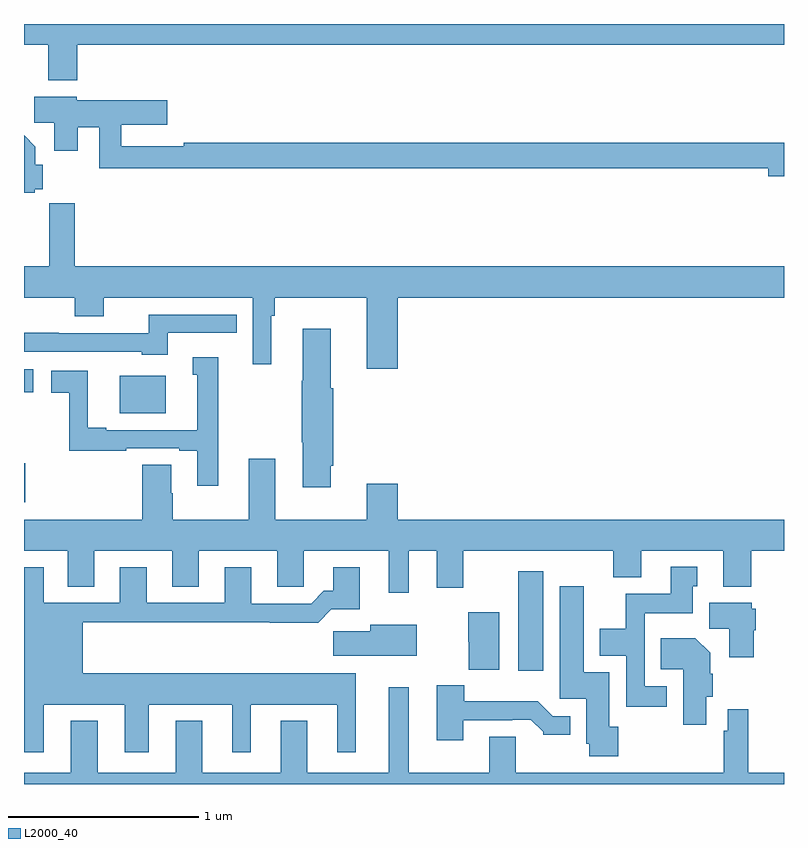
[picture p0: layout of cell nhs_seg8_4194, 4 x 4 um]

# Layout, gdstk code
import gdstk
lib = gdstk.Library(unit=1e-6, precision=1e-09)
def R(c, l, rs):  # rectangles x0, y0, x1, y1
    for r in rs: c.add(gdstk.rectangle(r[:2], r[2:], *l))
def P(c, l, *ps):  # polygons
    for p in ps: c.add(gdstk.Polygon(p, *l))
L2000_40 = (2000, 40)

nhs_seg8_4194 = lib.new_cell('nhs_seg8_4194')
R(nhs_seg8_4194, L2000_40, [(369.602,1154.496,369.733,1155.019), (367,1155.384,367.007,1155.587), (367.505,1155.851,367.747,1156.048), (367,1155.963,367.048,1156.084)])
P(nhs_seg8_4194, L2000_40, [(367.28,1157.792),(371,1157.792),(371,1157.9),(367,1157.9),(367,1157.792),(367.127,1157.792),(367.127,1157.603),(367.28,1157.603)],
  [(371,1157.276),(367.84,1157.276),(367.84,1157.256),(367.511,1157.256),(367.511,1157.369),(367.753,1157.369),(367.753,1157.499),(367.278,1157.499),(367.278,1157.518),(367.055,1157.518),(367.055,1157.38),(367.16,1157.38),(367.16,1157.232),(367.282,1157.232),(367.282,1157.357),(367.395,1157.357),(367.395,1157.14),(370.916,1157.14),(370.916,1157.098),(371,1157.098)],
  [(367.056,1157.03),(367.099,1157.03),(367.099,1157.158),(367.06,1157.158),(367.06,1157.254),(367,1157.314),(367,1157.011),(367.056,1157.011)],
  [(368.968,1156.46),(371,1156.46),(371,1156.624),(367.268,1156.624),(367.268,1156.957),(367.133,1156.957),(367.133,1156.844),(367.132,1156.844),(367.132,1156.624),(367,1156.624),(367,1156.46),(367.268,1156.46),(367.268,1156.361),(367.42,1156.361),(367.42,1156.46),(368.205,1156.46),(368.205,1156.11),(368.302,1156.11),(368.302,1156.364),(368.321,1156.364),(368.321,1156.46),(368.804,1156.46),(368.804,1156.086),(368.968,1156.086)],
  [(367.756,1156.275),(368.12,1156.275),(368.12,1156.371),(367.657,1156.371),(367.657,1156.272),(367.184,1156.272),(367.184,1156.274),(367,1156.274),(367,1156.176),(367.62,1156.176),(367.62,1156.16),(367.756,1156.16)],
  [(368.614,1155.574),(368.627,1155.574),(368.627,1155.984),(368.614,1155.984),(368.614,1156.297),(368.468,1156.297),(368.468,1156.022),(368.461,1156.022),(368.461,1155.7),(368.468,1155.7),(368.468,1155.462),(368.614,1155.462)],
  [(368.023,1156.147),(367.889,1156.147),(367.889,1156.053),(367.913,1156.053),(367.913,1155.762),(367.432,1155.762),(367.432,1155.775),(367.336,1155.775),(367.336,1156.074),(367.143,1156.074),(367.143,1155.958),(367.237,1155.958),(367.237,1155.654),(367.538,1155.654),(367.538,1155.666),(367.817,1155.666),(367.817,1155.654),(367.913,1155.654),(367.913,1155.471),(368.023,1155.471)],
  [(369.025,1155.128),(369.173,1155.128),(369.173,1154.934),(369.313,1154.934),(369.313,1155.128),(370.102,1155.128),(370.102,1154.987),(370.249,1154.987),(370.249,1155.128),(370.679,1155.128),(370.679,1154.939),(370.827,1154.939),(370.827,1155.128),(371,1155.128),(371,1155.292),(368.968,1155.292),(368.968,1155.481),(368.804,1155.481),(368.804,1155.292),(368.323,1155.292),(368.323,1155.613),(368.183,1155.613),(368.183,1155.292),(367.782,1155.292),(367.782,1155.431),(367.774,1155.431),(367.774,1155.581),(367.622,1155.581),(367.622,1155.292),(367,1155.292),(367,1155.128),(367.229,1155.128),(367.229,1154.938),(367.369,1154.938),(367.369,1155.128),(367.781,1155.128),(367.781,1154.938),(367.921,1154.938),(367.921,1155.128),(368.333,1155.128),(368.333,1154.938),(368.472,1154.938),(368.472,1155.128),(368.921,1155.128),(368.921,1154.907),(369.025,1154.907)],
  [(370.384,1154.415),(370.266,1154.415),(370.266,1154.798),(370.519,1154.798),(370.519,1154.94),(370.543,1154.94),(370.543,1155.043),(370.403,1155.043),(370.403,1154.902),(370.168,1154.902),(370.168,1154.716),(370.031,1154.716),(370.031,1154.576),(370.17,1154.576),(370.17,1154.307),(370.384,1154.307)],
  [(367.105,1154.318),(367.529,1154.318),(367.529,1154.067),(367.657,1154.067),(367.657,1154.318),(368.096,1154.318),(368.096,1154.067),(368.194,1154.067),(368.194,1154.318),(368.648,1154.318),(368.648,1154.067),(368.746,1154.067),(368.746,1154.482),(367.309,1154.482),(367.309,1154.752),(368.293,1154.752),(368.293,1154.75),(368.549,1154.75),(368.618,1154.819),(368.767,1154.819),(368.767,1155.04),(368.627,1155.04),(368.627,1154.917),(368.578,1154.917),(368.511,1154.85),(368.197,1154.85),(368.197,1155.04),(368.057,1155.04),(368.057,1154.853),(367.645,1154.853),(367.645,1155.04),(367.505,1155.04),(367.505,1154.853),(367.105,1154.853),(367.105,1155.04),(367,1155.04),(367,1154.067),(367.105,1154.067)],
  [(370.128,1154.202),(370.081,1154.202),(370.081,1154.488),(369.946,1154.488),(369.946,1154.941),(369.821,1154.941),(369.821,1154.349),(369.959,1154.349),(369.959,1154.112),(369.976,1154.112),(369.976,1154.046),(370.128,1154.046)],
  [(370.842,1154.709),(370.852,1154.709),(370.852,1154.823),(370.83,1154.823),(370.83,1154.854),(370.607,1154.854),(370.607,1154.716),(370.712,1154.716),(370.712,1154.568),(370.842,1154.568)],
  [(369.502,1154.803),(369.338,1154.803),(369.338,1154.649),(369.34,1154.649),(369.34,1154.501),(369.502,1154.501)],
  [(369.067,1154.737),(368.822,1154.737),(368.822,1154.705),(368.628,1154.705),(368.628,1154.576),(369.067,1154.576)],
  [(370.591,1154.358),(370.625,1154.358),(370.625,1154.48),(370.612,1154.48),(370.612,1154.59),(370.534,1154.668),(370.351,1154.668),(370.351,1154.504),(370.469,1154.504),(370.469,1154.211),(370.591,1154.211)],
  [(369.313,1154.235),(369.569,1154.235),(369.569,1154.238),(369.668,1154.238),(369.732,1154.174),(369.732,1154.159),(369.874,1154.159),(369.874,1154.256),(369.783,1154.256),(369.705,1154.335),(369.316,1154.335),(369.316,1154.419),(369.173,1154.419),(369.173,1154.13),(369.313,1154.13)],
  [(371,1153.96),(370.813,1153.96),(370.813,1154.293),(370.704,1154.293),(370.704,1154.18),(370.684,1154.18),(370.684,1153.96),(369.589,1153.96),(369.589,1154.15),(369.449,1154.15),(369.449,1153.96),(369.025,1153.96),(369.025,1154.41),(368.921,1154.41),(368.921,1153.96),(368.491,1153.96),(368.491,1154.233),(368.351,1154.233),(368.351,1153.96),(367.939,1153.96),(367.939,1154.233),(367.799,1154.233),(367.799,1153.96),(367.387,1153.96),(367.387,1154.233),(367.247,1154.233),(367.247,1153.96),(367,1153.96),(367,1153.9),(371,1153.9)])

lib.write_gds('nhs_seg8_4194.gds')
